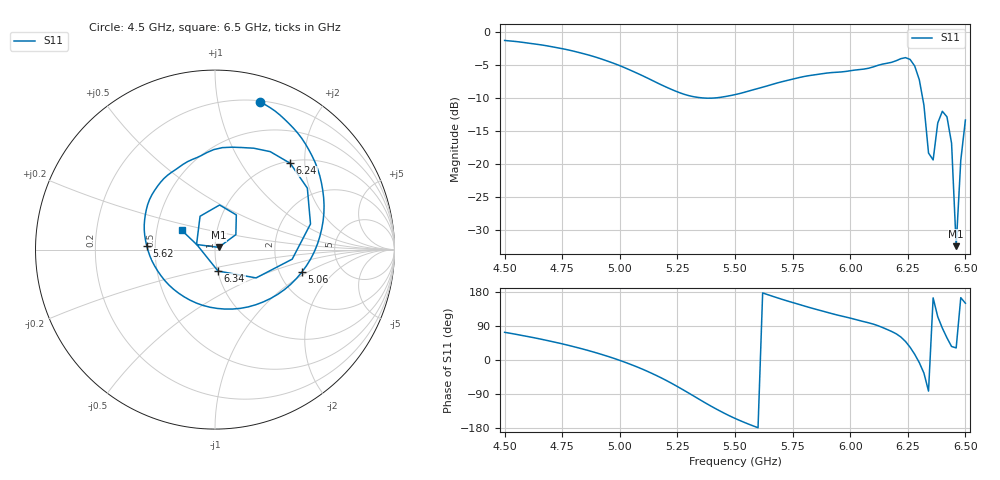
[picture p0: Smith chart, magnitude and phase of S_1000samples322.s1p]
! TOUCHSTONE file generated by CST MICROWAVE STUDIO
! Date and time: Thu Oct 27 18:44:23 2022
! Project name: L.cst
! Parameters = {Di=1.27; Epsilon_r=1.56; InnerDiameter=1.27; Length=2; Lf=10; Lg=60; OuterConductorThickness=0.2921; OuterDiameter=3.6; Wf=3; Wp=41.2; de=1.5; df=6.8; g=0.8; gx=3.60483; gy=2.18979; h=2.34; hf=1.524; px=13.9959; py=13.0404; w=9.7; wx=10.3911; wy=10.8506}
! Header version: 2018
! Port assignment regex: !\s*Touchstone port\s*([0-9]+)\s*=\s*(CST MWS port|CST DS port)\s*([0-9]+|Zmin|Zmax)\s*\(\"(.*)\"\)(\s*mode\s*([0-9]+))?.*
! Touchstone port assignment:
! Touchstone port 1 = CST MWS port 1 ("")
# GHz S DB R 50
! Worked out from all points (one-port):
!   101 points, 4.5 GHz to 6.5 GHz, reference 50 ohm
!   lowest |S11| = -32.5 dB at 6.46 GHz (marker M1), VSWR 1.05, Z = 52 + j1.3 ohm
!   |S11| at or under -10 dB: 5.355 GHz to 5.42 GHz (65.31 MHz wide, 1.21 % of centre); 6.314 GHz to end of sweep
!   S11 on the Smith chart (normalised r, x): 4.5 GHz: 0.21, +1.33; 5.06 GHz: 2.65, -0.89; 5.62 GHz: 0.45, +0.02; 6.24 GHz: 1.04, +1.69; 6.34 GHz: 1.00, -0.24; 6.5 GHz: 0.67, +0.15
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4.5  -1.30 73.0
4.76  -2.61 41.2
4.88  -3.66 22.1
5  -5.12 -1.1
5.06  -6.03 -14.6
5.16  -7.69 -41.3
5.26  -9.23 -73.5
5.36  -10.02 -109.2
5.5  -9.52 -154.1
5.62  -8.39 176.9
5.76  -7.08 149.9
6  -5.90 110.6
6.14  -4.89 85.8
6.2  -4.37 69.1
6.24  -3.90 48.9
6.26  -4.18 33.6
6.28  -5.18 15.0
6.3  -7.26 -7.1
6.32  -11.12 -34.6
6.34  -18.38 -82.0
6.36  -19.43 163.9
6.38  -13.82 114.1
6.4  -12.04 84.1
6.42  -12.89 58.4
6.44  -16.89 35.7
6.46  -32.52 31.9
6.48  -19.48 164.5
6.5  -13.37 149.8
